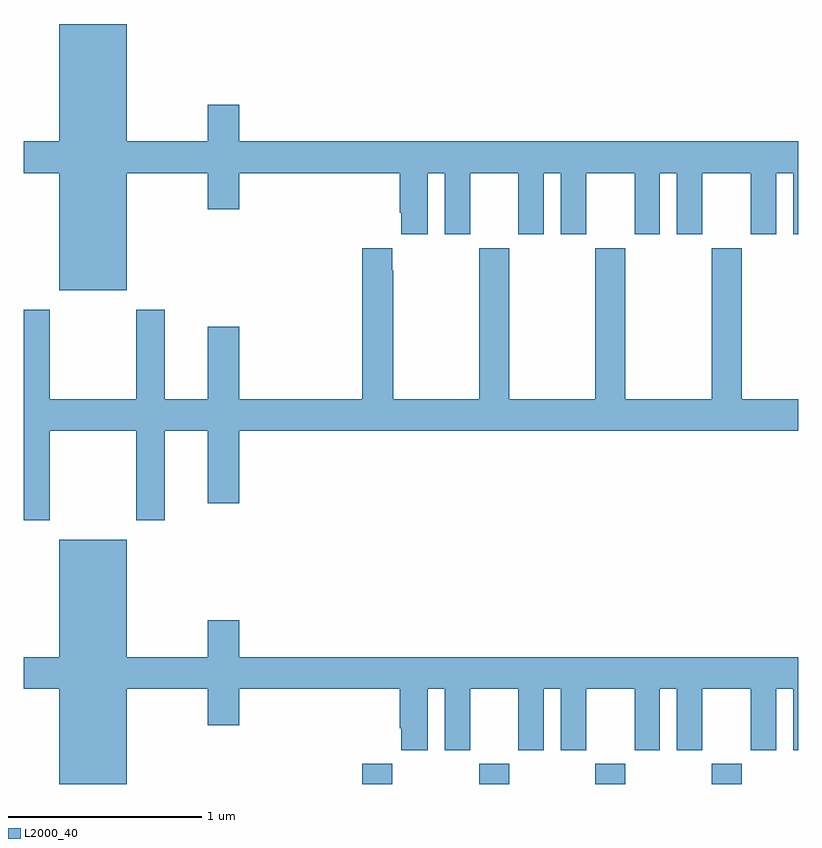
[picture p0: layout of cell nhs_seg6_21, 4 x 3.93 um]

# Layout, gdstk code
import gdstk
lib = gdstk.Library(unit=1e-6, precision=1e-09)
def R(c, l, rs):  # rectangles x0, y0, x1, y1
    for r in rs: c.add(gdstk.rectangle(r[:2], r[2:], *l))
def A(c, l, x, y, w, h, nx, ny, dx, dy):  # array of equal rectangles
    R(c, l, [(x+i*dx, y+j*dy, x+i*dx+w, y+j*dy+h) for i in range(nx) for j in range(ny)])
def P(c, l, *ps):  # polygons
    for p in ps: c.add(gdstk.Polygon(p, *l))
L2000_40 = (2000, 40)

nhs_seg6_21 = lib.new_cell('nhs_seg6_21')
A(nhs_seg6_21, L2000_40, 113.353, 957.5, 0.155, 0.104, 3, 1, 0.6, 0)
R(nhs_seg6_21, L2000_40, [(112.748,957.5,112.903,957.604)])
P(nhs_seg6_21, L2000_40, [(111.532,960.656),(111.95,960.656),(111.95,960.468),(112.114,960.468),(112.114,960.656),(112.943,960.656),(112.943,960.451),(112.949,960.451),(112.949,960.339),(113.086,960.339),(113.086,960.656),(113.174,960.656),(113.174,960.339),(113.305,960.339),(113.305,960.656),(113.555,960.656),(113.555,960.339),(113.686,960.339),(113.686,960.656),(113.774,960.656),(113.774,960.339),(113.905,960.339),(113.905,960.656),(114.155,960.656),(114.155,960.339),(114.286,960.339),(114.286,960.656),(114.374,960.656),(114.374,960.339),(114.505,960.339),(114.505,960.656),(114.755,960.656),(114.755,960.339),(114.886,960.339),(114.886,960.656),(114.974,960.656),(114.974,960.339),(115,960.339),(115,960.82),(112.114,960.82),(112.114,961.009),(111.95,961.009),(111.95,960.82),(111.532,960.82),(111.532,961.426),(111.182,961.426),(111.182,960.82),(111,960.82),(111,960.656),(111.182,960.656),(111.182,960.05),(111.532,960.05)],
  [(111.135,959.324),(111.58,959.324),(111.58,958.863),(111.727,958.863),(111.727,959.324),(111.95,959.324),(111.95,958.95),(112.114,958.95),(112.114,959.324),(115,959.324),(115,959.488),(114.708,959.488),(114.708,960.268),(114.553,960.268),(114.553,959.488),(114.108,959.488),(114.108,960.268),(113.953,960.268),(113.953,959.488),(113.508,959.488),(113.508,960.268),(113.353,960.268),(113.353,959.488),(112.908,959.488),(112.908,960.155),(112.903,960.155),(112.903,960.268),(112.748,960.268),(112.748,959.488),(112.114,959.488),(112.114,959.863),(111.95,959.863),(111.95,959.488),(111.727,959.488),(111.727,959.95),(111.58,959.95),(111.58,959.488),(111.135,959.488),(111.135,959.95),(111,959.95),(111,958.863),(111.135,958.863)],
  [(111.532,957.992),(111.95,957.992),(111.95,957.804),(112.114,957.804),(112.114,957.992),(112.943,957.992),(112.943,957.787),(112.949,957.787),(112.949,957.675),(113.086,957.675),(113.086,957.992),(113.174,957.992),(113.174,957.675),(113.305,957.675),(113.305,957.992),(113.555,957.992),(113.555,957.675),(113.686,957.675),(113.686,957.992),(113.774,957.992),(113.774,957.675),(113.905,957.675),(113.905,957.992),(114.155,957.992),(114.155,957.675),(114.286,957.675),(114.286,957.992),(114.374,957.992),(114.374,957.675),(114.505,957.675),(114.505,957.992),(114.755,957.992),(114.755,957.675),(114.886,957.675),(114.886,957.992),(114.974,957.992),(114.974,957.675),(115,957.675),(115,958.156),(112.114,958.156),(112.114,958.345),(111.95,958.345),(111.95,958.156),(111.532,958.156),(111.532,958.762),(111.182,958.762),(111.182,958.156),(111,958.156),(111,957.992),(111.182,957.992),(111.182,957.5),(111.532,957.5)])

lib.write_gds('nhs_seg6_21.gds')
